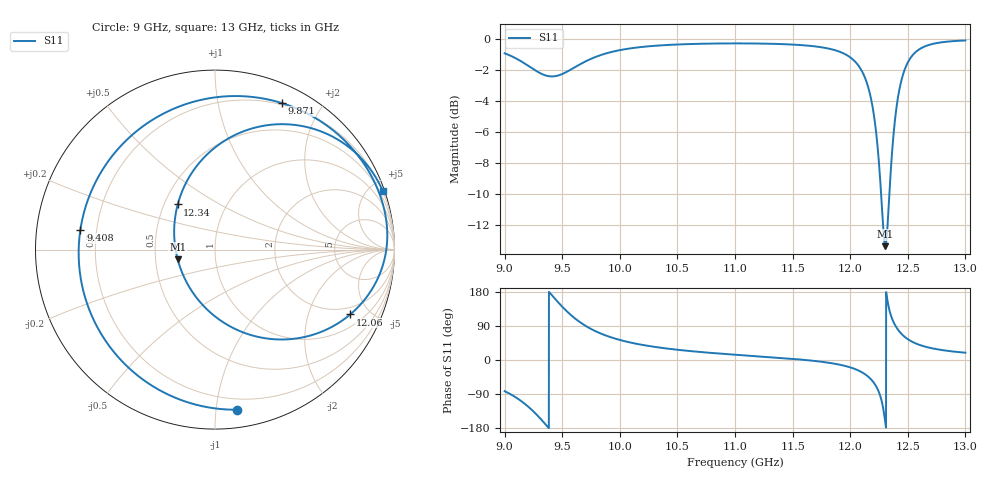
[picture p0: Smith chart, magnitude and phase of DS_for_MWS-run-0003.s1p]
! TOUCHSTONE file generated by CST DESIGN STUDIO
! Date and time: Tue Feb  4 18:16:55 2025
! Project name: C:\Work\MatlabApps\UnitCellOptimizationMatlab\CST\unitcell.cst
! Tree item: Tasks\Sweep1\SPara1\S-Parameters
! Header version: 2024
! Port assignment regex: !\s*Touchstone port\s*([0-9]+)\s*=\s*(CST MWS port|CST DES external port|CST DES block port)\s*(.+)\s* \(\"(.*)\"\)(\s*mode\s*([0-9]+))?.*
! Touchstone port assignment:
! Touchstone port 1 = CST DES external port 1 ("")
# GHz S MA R 50
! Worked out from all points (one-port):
!   4001 points, 9 GHz to 13 GHz, reference 50 ohm
!   lowest |S11| = -13.4 dB at 12.3 GHz (marker M1), VSWR 1.55, Z = 32.6 - j3.72 ohm
!   |S11| at or under -10 dB: 12.27 GHz to 12.34 GHz (71.35 MHz wide, 0.58 % of centre)
!   S11 on the Smith chart (normalised r, x): 9 GHz: 0.12, -1.14; 9.408 GHz: 0.14, +0.07; 9.871 GHz: 0.18, +1.54; 12.06 GHz: 1.58, -3.78; 12.34 GHz: 0.59, +0.33; 13 GHz: 0.17, +5.89
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9  0.9004 -82.2
9.112  0.8615 -101.5
9.205  0.8205 -123.2
9.317  0.774 -156.8
9.408  0.7582 171.7
9.5  0.7718 140.7
9.576  0.7983 118.6
9.657  0.8305 99.2
9.871  0.8973 65.5
10  0.9216 53.0
10.216  0.9458 38.8
10.5  0.9611 27.0
11  0.969 14.0
11.5  0.9606 3.0
11.817  0.9316 -7.4
12  0.8738 -19.4
12.056  0.8357 -25.6
12.14  0.7313 -40.0
12.213  0.5447 -63.4
12.259  0.358 -92.9
12.305  0.215 -165.3
12.342  0.3264 129.5
12.378  0.5013 98.9
12.412  0.6392 81.2
12.5  0.8411 55.0
12.577  0.9144 42.7
12.676  0.956 33.2
13  0.9903 19.3
